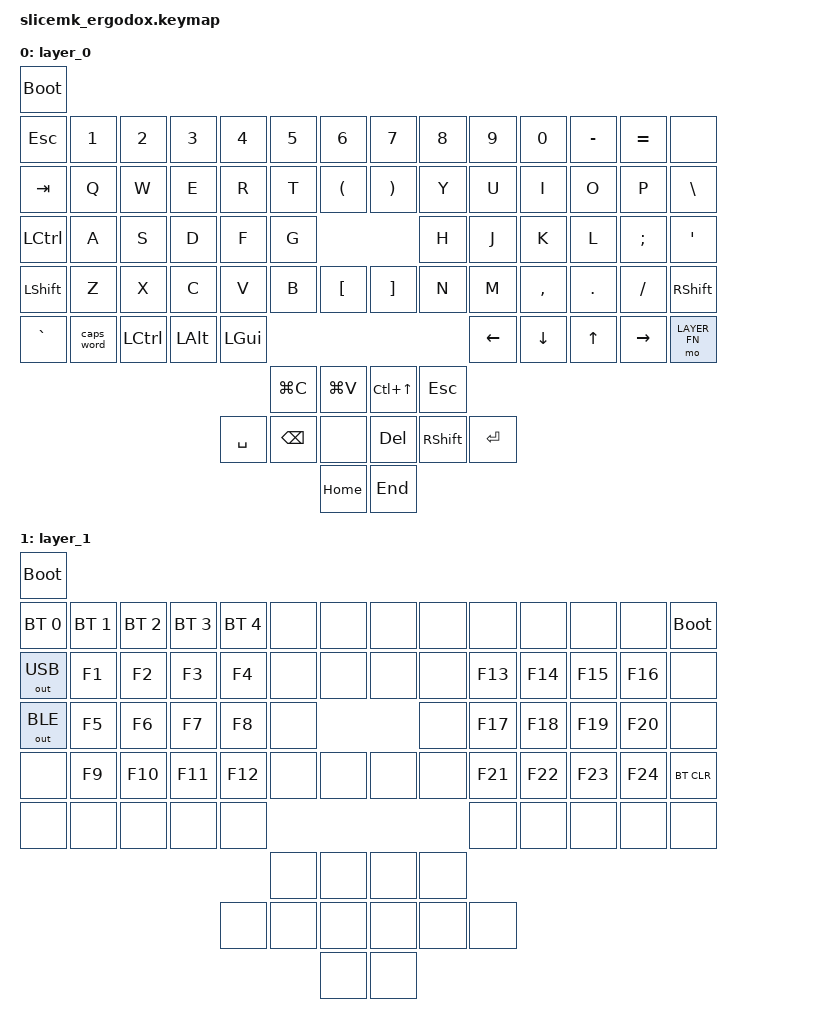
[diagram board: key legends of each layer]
#include <behaviors.dtsi>
#include <dt-bindings/zmk/bt.h>
#include <dt-bindings/zmk/keys.h>
#include <dt-bindings/zmk/mouse.h>
#include <dt-bindings/zmk/outputs.h>

#define LAYER_MAIN 0
#define LAYER_FN 1

/ {
	keymap {
		compatible = "zmk,keymap";

		layer_0 {
			bindings = <
				&bootloader
				&kp ESCAPE     &kp NUMBER_1    &kp NUMBER_2 &kp NUMBER_3   &kp NUMBER_4   &kp NUMBER_5     &kp NUMBER_6      &kp NUMBER_7    &kp NUMBER_8 &kp NUMBER_9   &kp NUMBER_0    &kp MINUS     &kp EQUAL       &none
				&kp TAB        &kp Q           &kp W        &kp E          &kp R          &kp T            &kp LPAR          &kp RPAR        &kp Y        &kp U          &kp I           &kp O         &kp P           &kp BACKSLASH
				&kp LCTRL      &kp A           &kp S        &kp D          &kp F          &kp G                                              &kp H        &kp J          &kp K           &kp L         &kp SEMICOLON   &kp SINGLE_QUOTE
				&kp LSHFT      &kp Z           &kp X        &kp C          &kp V          &kp B            &kp LBKT          &kp RBKT        &kp N        &kp M          &kp COMMA       &kp PERIOD    &kp SLASH       &kp RSHFT
				&kp GRAVE      &caps_word      &kp LCTRL    &kp LALT       &kp LGUI                                                                       &kp LEFT_ARROW &kp DOWN_ARROW  &kp UP_ARROW  &kp RIGHT_ARROW &mo LAYER_FN
				                                                                          &kp LG(C)        &kp LG(V)         &kp LC(UP_ARROW) &kp ESCAPE
				                                                           &kp SPACE      &kp BACKSPACE    &none             &kp DELETE      &kp RSHFT   &kp ENTER
				                                                                                           &kp HOME          &kp END
			>;
		};

		layer_1 {
			bindings = <
				&bootloader
				&bt BT_SEL 0 &bt BT_SEL 1 &bt BT_SEL 2 &bt BT_SEL 3 &bt BT_SEL 4 &none &none &none &none &none   &none   &none   &none   &bootloader
				&out OUT_USB &kp F1       &kp F2       &kp F3       &kp F4       &none &none &none &none &kp F13 &kp F14 &kp F15 &kp F16 &none
				&out OUT_BLE &kp F5       &kp F6       &kp F7       &kp F8       &none             &none &kp F17 &kp F18 &kp F19 &kp F20 &none
				&none        &kp F9       &kp F10      &kp F11      &kp F12      &none &none &none &none &kp F21 &kp F22 &kp F23 &kp F24 &bt BT_CLR
				&none        &none        &none        &none        &none                                &none   &none   &none   &none   &none
				                                                                 &none &none &none &none
				                                                    &none        &none &none &none &none &none
				                                                                       &none &none
			>;
		};
	};
};
